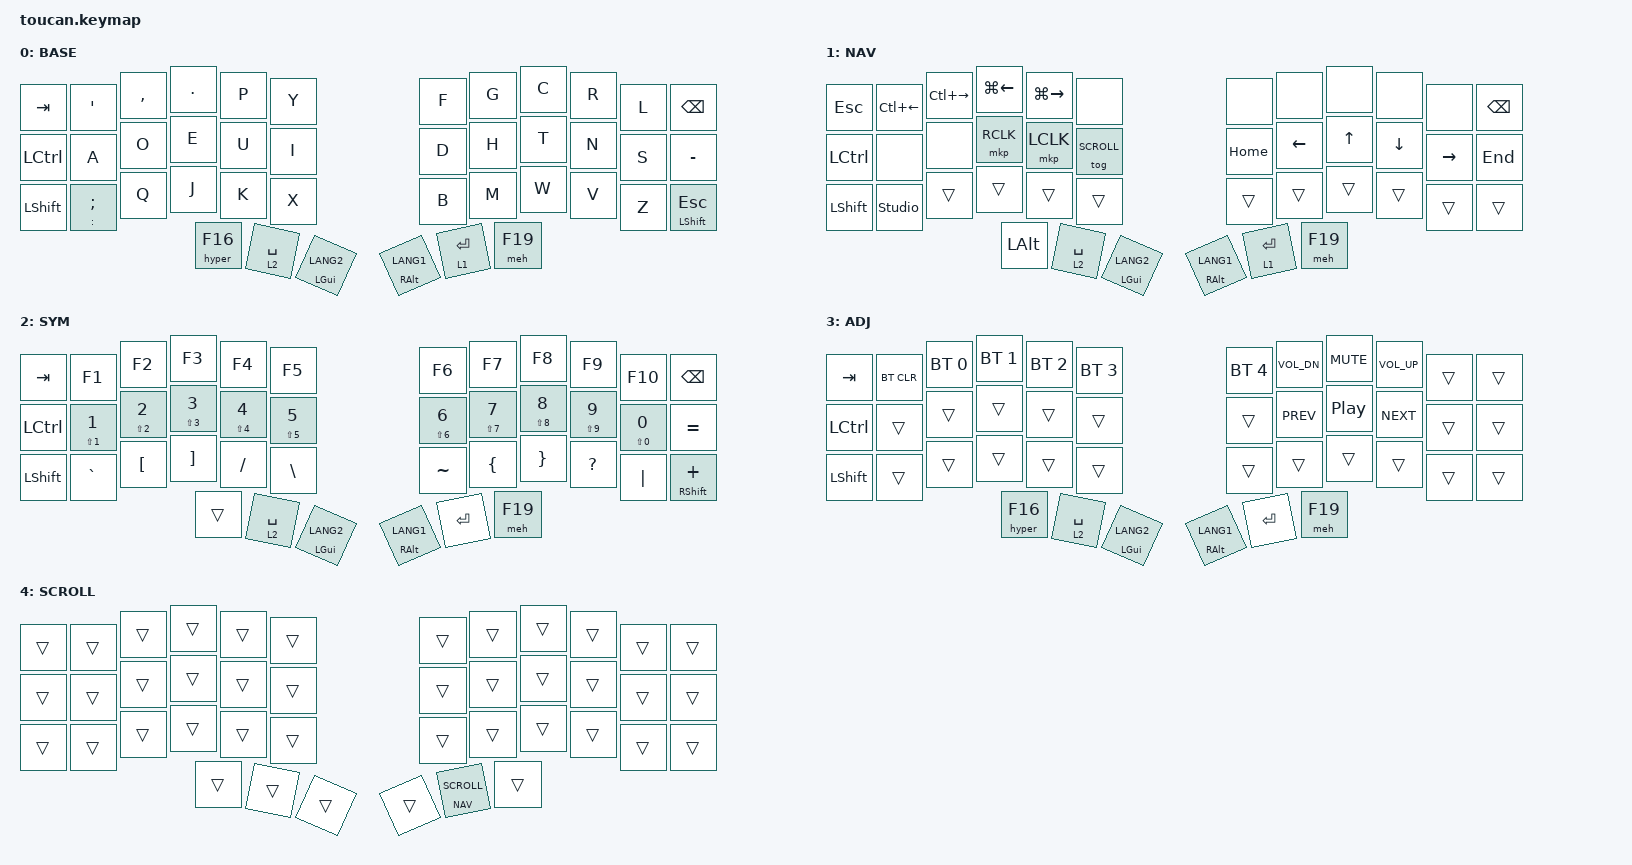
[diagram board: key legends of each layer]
#include <behaviors.dtsi>
#include <dt-bindings/zmk/keys.h>
#include <dt-bindings/zmk/bt.h>
#include <dt-bindings/zmk/outputs.h>
#include <dt-bindings/zmk/mouse.h>

#define BASE 0
#define NAV  1
#define SYM  2
#define ADJ  3
#define SCROLL 5

/ {
    macros {
        hyper: hyper {
            compatible = "zmk,behavior-macro";
            #binding-cells = <0>;
            bindings = <&macro_press &kp LSHFT &kp LCTRL &kp LALT &kp LGUI>
                     , <&macro_pause_for_release>
                     , <&macro_release &kp LSHFT &kp LCTRL &kp LALT &kp LGUI>;
        };
        
        meh: meh {
            compatible = "zmk,behavior-macro";
            #binding-cells = <0>;
            bindings = <&macro_press &kp LSHFT &kp LCTRL &kp LALT>
                     , <&macro_pause_for_release>
                     , <&macro_release &kp LSHFT &kp LCTRL &kp LALT>;
        };
    };

    behaviors {
        ret_layer: ret_layer {
            compatible = "zmk,behavior-hold-tap";
            #binding-cells = <2>;
            flavor = "hold-preferred";
            tapping-term-ms = <200>;
            quick-tap-ms = <0>;
            bindings = <&mo>, <&kp>;
        };

        space_layer: space_layer {
            compatible = "zmk,behavior-hold-tap";
            #binding-cells = <2>;
            flavor = "hold-preferred";
            tapping-term-ms = <200>;
            quick-tap-ms = <0>;
            bindings = <&mo>, <&kp>;
        };
        
        lgui_lang: lgui_lang {
            compatible = "zmk,behavior-hold-tap";
            #binding-cells = <2>;
            flavor = "hold-preferred";
            tapping-term-ms = <200>;
            quick-tap-ms = <150>;
            bindings = <&kp>, <&kp>;
        };
        
        ralt_lang: ralt_lang {
            compatible = "zmk,behavior-hold-tap";
            #binding-cells = <2>;
            flavor = "hold-preferred";
            tapping-term-ms = <200>;
            quick-tap-ms = <150>;
            bindings = <&kp>, <&kp>;
        };
        
        meh_f19: meh_f19 {
            compatible = "zmk,behavior-hold-tap";
            #binding-cells = <2>;
            flavor = "hold-preferred";
            tapping-term-ms = <200>;
            quick-tap-ms = <0>;
            hold-while-undecided;
            bindings = <&meh>, <&kp>;
        };
        
        hyper_f16: hyper_f16 {
            compatible = "zmk,behavior-hold-tap";
            #binding-cells = <2>;
            flavor = "tap-preferred";
            tapping-term-ms = <250>;
            quick-tap-ms = <200>;
            hold-while-undecided;
            bindings = <&hyper>, <&kp>;
        };

        semi_colon: semi_colon {
            compatible = "zmk,behavior-hold-tap";
            #binding-cells = <2>;
            flavor = "tap-preferred";
            tapping-term-ms = <200>;
            bindings = <&kp>, <&kp>;
        };

        num_sym: num_sym {
            compatible = "zmk,behavior-hold-tap";
            #binding-cells = <2>;
            flavor = "tap-preferred";
            tapping-term-ms = <200>;
            bindings = <&kp>, <&kp>;
        };

        scroll_exit_nav: scroll_exit_nav {
            compatible = "zmk,behavior-hold-tap";
            #binding-cells = <2>;
            flavor = "balanced";
            tapping-term-ms = <200>;
            quick-tap-ms = <150>;
            bindings = <&mo>, <&tog>;
        };

        esc_shift: esc_shift {
            compatible = "zmk,behavior-hold-tap";
            #binding-cells = <2>;
            flavor = "hold-preferred";
            tapping-term-ms = <200>;
            quick-tap-ms = <0>;
            hold-while-undecided;
            bindings = <&kp>, <&kp>;
        };

        plus_rsft: plus_rsft {
            compatible = "zmk,behavior-hold-tap";
            #binding-cells = <2>;
            flavor = "hold-preferred";
            tapping-term-ms = <200>;
            quick-tap-ms = <0>;
            hold-while-undecided;
            bindings = <&kp>, <&kp>;
        };
    };

    conditional_layers {
        compatible = "zmk,conditional-layers";
        tri_layer {
            if-layers = <1 2>;
            then-layer = <3>;
        };
    };

    keymap {
        compatible = "zmk,keymap";

        base {
            display-name = "BASE";
            bindings = <
                &kp TAB   &kp SQT &kp COMMA &kp DOT &kp P &kp Y   &kp F &kp G &kp C &kp R &kp L &kp BSPC
                &kp LCTRL &kp A   &kp O     &kp E   &kp U &kp I   &kp D &kp H &kp T &kp N &kp S &kp MINUS
                &kp LSHFT &semi_colon COLON SEMI &kp Q    &kp J   &kp K &kp X   &kp B &kp M &kp W &kp V &kp Z &esc_shift LSHFT ESC
                                &hyper_f16 0 F16 &space_layer 2 SPACE &lgui_lang LGUI LANG2   &ralt_lang RALT LANG1 &ret_layer 1 RET &meh_f19 0 F19
            >;
        };

        nav {
            display-name = "NAV";
            bindings = <
                &kp ESC     &kp LC(LEFT)    &kp LC(RIGHT) &kp LG(LEFT) &kp LG(RIGHT) &none            &none        &none    &none    &none     &none     &kp BSPC
                &kp LCTRL   &none           &none         &mkp RCLK    &mkp LCLK     &tog SCROLL      &kp HOME     &kp LEFT &kp UP   &kp DOWN  &kp RIGHT &kp END
                &kp LSHFT   &studio_unlock  &trans        &trans       &trans        &trans           &trans       &trans   &trans   &trans    &trans    &trans
                                                &kp LALT          &space_layer 2 SPACE &lgui_lang LGUI LANG2   &ralt_lang RALT LANG1 &ret_layer 1 RET &meh_f19 0 F19
            >;
        };

        sym {
            display-name = "SYM";
            bindings = <
                &kp TAB   &kp F1 &kp F2 &kp F3 &kp F4 &kp F5   &kp F6 &kp F7 &kp F8 &kp F9 &kp F10 &kp BSPC
                &kp LCTRL &num_sym LS(N1) N1 &num_sym LS(N2) N2 &num_sym LS(N3) N3 &num_sym LS(N4) N4 &num_sym LS(N5) N5   &num_sym LS(N6) N6 &num_sym LS(N7) N7 &num_sym LS(N8) N8 &num_sym LS(N9) N9 &num_sym LS(N0) N0 &kp EQUAL
                &kp LSHFT &kp GRAVE &kp LBKT &kp RBKT &kp FSLH &kp BSLH   &kp TILDE &kp LBRC &kp RBRC &kp QMARK &kp PIPE &plus_rsft RSHFT PLUS
                                          &trans &space_layer 2 SPACE &lgui_lang LGUI LANG2   &ralt_lang RALT LANG1 &kp RET &meh_f19 0 F19
            >;
        };

        adj {
            display-name = "ADJ";
            bindings = <
                &kp TAB   &bt BT_CLR &bt BT_SEL 0 &bt BT_SEL 1 &bt BT_SEL 2 &bt BT_SEL 3   &bt BT_SEL 4 &kp C_VOL_DN &kp C_MUTE &kp C_VOL_UP &trans &trans
                &kp LCTRL &trans     &trans       &trans       &trans       &trans         &trans       &kp C_PREV   &kp C_PLAY_PAUSE &kp C_NEXT &trans &trans
                &kp LSHFT &trans     &trans       &trans       &trans       &trans         &trans       &trans       &trans       &trans     &trans &trans
                                   &hyper_f16 0 F16 &space_layer 2 SPACE &lgui_lang LGUI LANG2   &ralt_lang RALT LANG1 &kp RET &meh_f19 0 F19
            >;
        };

        mouse {
            status = "reserved";
        };

        scroll {
            display-name = "SCROLL";
            bindings = <
                &trans &trans &trans &trans &trans &trans   &trans &trans &trans &trans &trans &trans
                &trans &trans &trans &trans &trans &trans   &trans &trans &trans &trans &trans &trans
                &trans &trans &trans &trans &trans &trans   &trans &trans &trans &trans &trans &trans
                               &trans &trans &trans   &trans &scroll_exit_nav NAV SCROLL &trans
            >;
        };
        extra_1 {
                status = "reserved";
        };

        extra_2 {
                status = "reserved";
        };

        extra_3 {
                status = "reserved";
        };
    };
};
